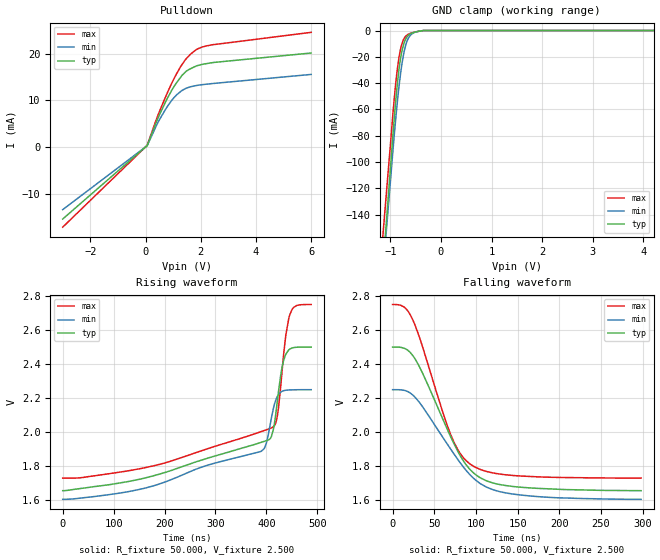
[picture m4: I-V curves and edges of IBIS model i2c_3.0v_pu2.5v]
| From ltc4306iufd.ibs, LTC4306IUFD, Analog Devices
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[Model]   i2c_3.0v_pu2.5v
Model_type I/O_open_drain
Vinl=5.200E-01
Vinh=2.000E+00
Vref=2.500E+00
Rref=2.700E+03
Cref=0.000E+00
Vmeas=1.500E+00
C_comp   1.380E-12   1.270E-12   1.490E-12
[Model spec]
Vref  2.50   2.25   2.75
Vinl  0.52   0.40   0.64
|Vinh
[Voltage Range]   3.000E+00   2.700E+00   3.300E+00
[POWER Clamp Reference]   3.000E+00   2.700E+00   3.300E+00
[GND Clamp Reference]   0.000E+00   0.000E+00   0.000E+00
[Pullup Reference]   3.000E+00   2.700E+00   3.300E+00
[Pulldown Reference]   0.000E+00   0.000E+00   0.000E+00
[Temperature Range]   25   85   -40
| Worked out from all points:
|   slope of the pulldown table from 0 to 0.45 V, typ, clamps not added: 73 ohm
|   GND clamp passes 1 mA (typ) near -0.49 V on its own axis
|   rising waveform, R_fixture 50.000, V_fixture 2.500: 20-80 % time 167ns typ, 189ns min, 119ns max; typ from 1.66 V to 2.5 V
|   falling waveform, R_fixture 50.000, V_fixture 2.500: 20-80 % time 48.4ns typ, 56.1ns min, 41.3ns max; typ from 2.5 V to 1.66 V
[GND Clamp]
-3V       -1.123A    -1.049A    -1.019A
-1.02V    -116.3mA   -125.2mA   -97.2mA
-900mV    -56.73mA   -70.17mA   -43.02mA
-860mV    -40.39mA   -54.14mA   -29.19mA
-820mV    -26.92mA   -39.97mA   -18.63mA
-780mV    -17.32mA   -28.08mA   -11.36mA
-720mV    -8.609mA   -14.86mA   -5.549mA
-680mV    -5.374mA   -9.199mA   -3.756mA
-620mV    -2.925mA   -4.457mA   -2.416mA
-520mV    -1.256mA   -1.414mA   -1.235mA
-340mV    0A         0A         0A
6V        0A         0A         0A
[Pulldown]
-3V       -15.46mA   -13.44mA   -17.2mA
60mV      266.1uA    284.9uA    397uA
500mV     6.847mA    5.809mA    7.559mA
720mV     9.595mA    8.033mA    10.67mA
940mV     12.07mA    9.931mA    13.57mA
1.14V     13.92mA    11.24mA    15.88mA
1.32V     15.36mA    12.11mA    17.67mA
1.48V     16.28mA    12.62mA    18.97mA
1.64V     16.81mA    12.93mA    19.96mA
1.88V     17.46mA    13.22mA    21.03mA
2.44V     18.11mA    13.61mA    21.94mA
6V        20.16mA    15.56mA    24.59mA
[Rising Waveform]
R_fixture = 50.000
V_fixture = 2.500
V_fixture_min = 2.250
V_fixture_max = 2.750
|  time   V(typ)   V(min)   V(max)
0s        1.657V     1.606V     1.731V
184ns     1.749V     1.691V     1.807V
390ns     1.941V     1.889V     2.004V
400ns     1.951V     1.937V     2.015V
414ns     2.02V      2.143V     2.032V
422ns     2.196V     2.213V     2.105V
432ns     2.399V     2.242V     2.399V
438ns     2.458V     2.247V     2.568V
446ns     2.489V     2.249V     2.691V
488ns     2.5V       2.25V      2.75V
[Falling Waveform]
R_fixture = 50.000
V_fixture = 2.500
V_fixture_min = 2.250
V_fixture_max = 2.750
|  time   V(typ)   V(min)   V(max)
0s        2.5V       2.25V      2.75V
14ns      2.493V     2.246V     2.734V
24ns      2.452V     2.22V      2.662V
36ns      2.347V     2.15V      2.501V
70ns      1.97V      1.899V     1.982V
82ns      1.855V     1.815V     1.869V
94ns      1.776V     1.745V     1.81V
114ns     1.712V     1.675V     1.768V
144ns     1.682V     1.637V     1.746V
298ns     1.657V     1.606V     1.731V
[Ramp]
dV/dt_r   5.2981E-01/1.6670E-07   4.0030E-01/1.8860E-07   6.5013E-01/1.1940E-07
dV/dt_f   5.2981E-01/4.8326E-08   4.0030E-01/5.6011E-08   6.5013E-01/4.1283E-08
R_load = 50
